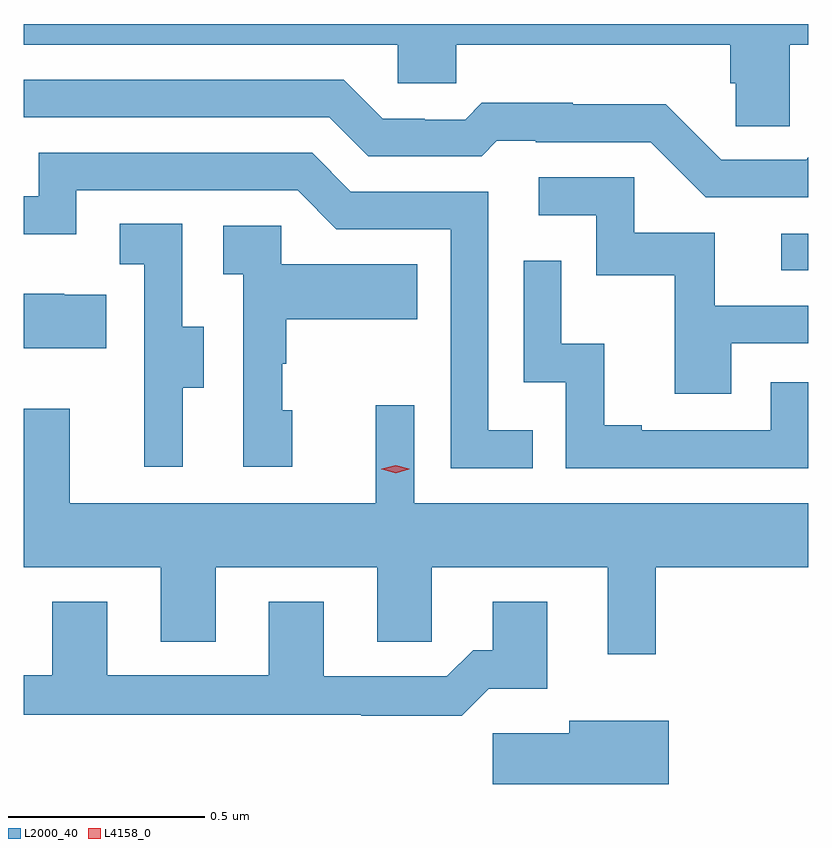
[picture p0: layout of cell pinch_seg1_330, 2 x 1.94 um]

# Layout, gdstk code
import gdstk
lib = gdstk.Library(unit=1e-6, precision=1e-09)
def R(c, l, rs):  # rectangles x0, y0, x1, y1
    for r in rs: c.add(gdstk.rectangle(r[:2], r[2:], *l))
def P(c, l, *ps):  # polygons
    for p in ps: c.add(gdstk.Polygon(p, *l))
L2000_40 = (2000, 40)
L4158_0 = (4158, 0)

pinch_seg1_330 = lib.new_cell('pinch_seg1_330')
R(pinch_seg1_330, L2000_40, [(954.111,545.829,954.18,545.922)])
P(pinch_seg1_330, L2000_40, [(954.132,546.404),(954.18,546.404),(954.18,546.457),(952.18,546.457),(952.18,546.404),(953.133,546.404),(953.133,546.306),(953.283,546.306),(953.283,546.404),(953.981,546.404),(953.981,546.306),(953.995,546.306),(953.995,546.196),(954.132,546.196)],
  [(954.18,546.117),(954.174,546.111),(953.958,546.111),(953.816,546.253),(953.58,546.253),(953.58,546.256),(953.347,546.256),(953.305,546.213),(953.202,546.213),(953.202,546.216),(953.095,546.216),(952.996,546.315),(952.18,546.315),(952.18,546.219),(952.959,546.219),(953.058,546.12),(953.347,546.12),(953.386,546.159),(953.485,546.159),(953.485,546.156),(953.778,546.156),(953.919,546.015),(954.18,546.015)],
  [(953.477,545.421),(953.364,545.421),(953.364,546.03),(953.014,546.03),(952.915,546.129),(952.218,546.129),(952.218,546.018),(952.18,546.018),(952.18,545.921),(952.314,545.921),(952.314,546.033),(952.878,546.033),(952.977,545.934),(953.268,545.934),(953.268,545.325),(953.477,545.325)],
  [(953.983,545.643),(954.18,545.643),(954.18,545.739),(953.941,545.739),(953.941,545.925),(953.736,545.925),(953.736,546.066),(953.493,546.066),(953.493,545.97),(953.64,545.97),(953.64,545.817),(953.839,545.817),(953.839,545.514),(953.983,545.514)],
  [(952.585,545.53),(952.639,545.53),(952.639,545.685),(952.584,545.685),(952.584,545.948),(952.425,545.948),(952.425,545.845),(952.488,545.845),(952.488,545.541),(952.487,545.541),(952.487,545.328),(952.585,545.328)],
  [(952.864,545.472),(952.839,545.472),(952.839,545.591),(952.849,545.591),(952.849,545.705),(953.183,545.705),(953.183,545.845),(952.836,545.845),(952.836,545.943),(952.689,545.943),(952.689,545.819),(952.74,545.819),(952.74,545.328),(952.864,545.328)],
  [(954.18,545.544),(954.084,545.544),(954.084,545.421),(953.755,545.421),(953.755,545.434),(953.66,545.434),(953.66,545.642),(953.55,545.642),(953.55,545.854),(953.454,545.854),(953.454,545.544),(953.562,545.544),(953.562,545.325),(954.18,545.325)],
  [(952.391,545.767),(952.283,545.767),(952.283,545.77),(952.18,545.77),(952.18,545.63),(952.391,545.63)],
  [(953.791,545.072),(954.18,545.072),(954.18,545.236),(953.175,545.236),(953.175,545.485),(953.078,545.485),(953.078,545.236),(952.297,545.236),(952.297,545.476),(952.18,545.476),(952.18,545.072),(952.529,545.072),(952.529,544.882),(952.669,544.882),(952.669,545.072),(953.081,545.072),(953.081,544.882),(953.22,544.882),(953.22,545.072),(953.669,545.072),(953.669,544.851),(953.791,544.851)],
  [(953.366,544.763),(953.515,544.763),(953.515,544.984),(953.375,544.984),(953.375,544.861),(953.326,544.861),(953.259,544.794),(952.945,544.794),(952.945,544.984),(952.805,544.984),(952.805,544.797),(952.393,544.797),(952.393,544.984),(952.253,544.984),(952.253,544.797),(952.18,544.797),(952.18,544.696),(953.041,544.696),(953.041,544.694),(953.297,544.694)],
  [(953.824,544.681),(953.57,544.681),(953.57,544.649),(953.376,544.649),(953.376,544.52),(953.824,544.52)])
P(pinch_seg1_330, L4158_0, [(953.128,545.312),(953.093,545.322),(953.092,545.322),(953.093,545.323),(953.128,545.332),(953.163,545.323),(953.163,545.322),(953.163,545.322)])

lib.write_gds('pinch_seg1_330.gds')
